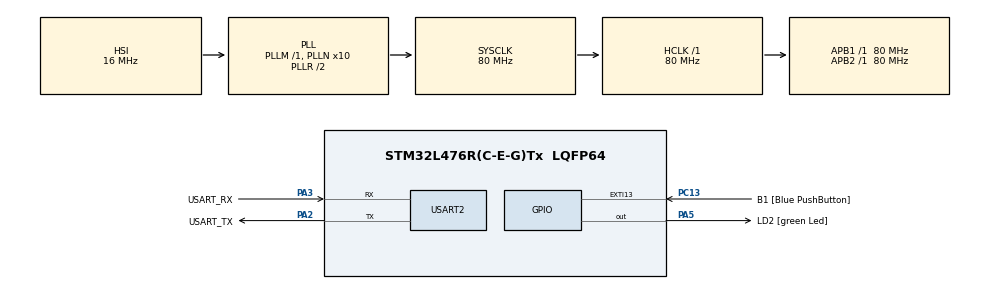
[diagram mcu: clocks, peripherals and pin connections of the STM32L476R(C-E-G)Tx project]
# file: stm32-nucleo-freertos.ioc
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FREERTOS.Tasks01=defaultTask,0,128,StartDefaultTask,Default,NULL,Dynamic,NULL,NULL
Mcu.Family=STM32L4
Mcu.Name=STM32L476R(C-E-G)Tx
Mcu.Package=LQFP64
NVIC.PriorityGroup=NVIC_PRIORITYGROUP_4
NVIC.TIM2_IRQn=true\:0\:0\:false\:false\:true\:false\:false\:true
NVIC.TimeBase=TIM2_IRQn
NVIC.TimeBaseIP=TIM2
PA13\ (JTMS-SWDIO).GPIO_Label=TMS
PA13\ (JTMS-SWDIO).Mode=Serial_Wire
PA13\ (JTMS-SWDIO).Signal=SYS_JTMS-SWDIO
PA14\ (JTCK-SWCLK).GPIO_Label=TCK
PA14\ (JTCK-SWCLK).Mode=Serial_Wire
PA14\ (JTCK-SWCLK).Signal=SYS_JTCK-SWCLK
PA2.GPIO_Label=USART_TX
PA2.GPIO_Mode=GPIO_MODE_AF_PP
PA2.GPIO_PuPd=GPIO_NOPULL
PA2.GPIO_Speed=GPIO_SPEED_FREQ_VERY_HIGH
PA2.Mode=Asynchronous
PA2.Signal=USART2_TX
PA3.GPIO_Label=USART_RX
PA3.GPIO_Mode=GPIO_MODE_AF_PP
PA3.GPIO_PuPd=GPIO_NOPULL
PA3.GPIO_Speed=GPIO_SPEED_FREQ_VERY_HIGH
PA3.Mode=Asynchronous
PA3.Signal=USART2_RX
PA5.GPIO_Label=LD2 [green Led]
PA5.GPIO_ModeDefaultOutputPP=GPIO_MODE_OUTPUT_PP
PA5.GPIO_PuPd=GPIO_NOPULL
PA5.GPIO_Speed=GPIO_SPEED_FREQ_LOW
PA5.Signal=GPIO_Output
PB3\ (JTDO-TRACESWO).GPIO_Label=SWO
PB3\ (JTDO-TRACESWO).Signal=SYS_JTDO-SWO
PC13.GPIO_Label=B1 [Blue PushButton]
PC13.GPIO_ModeDefaultEXTI=GPIO_MODE_IT_FALLING
PC13.GPIO_PuPd=GPIO_NOPULL
PC13.Signal=GPXTI13
PC14-OSC32_IN\ (PC14).Mode=LSE-External-Oscillator
PC14-OSC32_IN\ (PC14).Signal=RCC_OSC32_IN
PC15-OSC32_OUT\ (PC15).Mode=LSE-External-Oscillator
PC15-OSC32_OUT\ (PC15).Signal=RCC_OSC32_OUT
PH0-OSC_IN\ (PH0).Signal=RCC_OSC_IN
PH1-OSC_OUT\ (PH1).Signal=RCC_OSC_OUT
ProjectManager.HeapSize=0x200
ProjectManager.StackSize=0x400
ProjectManager.TargetToolchain=STM32CubeIDE
RCC.ADCFreq_Value=64000000
RCC.AHBFreq_Value=80000000
RCC.APB1Freq_Value=80000000
RCC.APB1TimFreq_Value=80000000
RCC.APB2Freq_Value=80000000
RCC.APB2TimFreq_Value=80000000
RCC.CortexFreq_Value=80000000
RCC.HCLKFreq_Value=80000000
RCC.HSE_VALUE=8000000
RCC.HSI_VALUE=16000000
RCC.MSI_VALUE=4000000
RCC.PLLN=10
RCC.PLLSourceVirtual=RCC_PLLSOURCE_HSI
RCC.PREFETCH_ENABLE=1
RCC.SYSCLKFreq_VALUE=80000000
RCC.SYSCLKSource=RCC_SYSCLKSOURCE_PLLCLK
RCC.USBFreq_Value=64000000
RCC.VCOOutputFreq_Value=160000000
USART2.VirtualMode-Asynchronous=VM_ASYNC
VP_FREERTOS_VS_CMSIS_V1.Mode=CMSIS_V1
VP_SYS_VS_tim2.Mode=TIM2
board=NUCLEO-L476RG

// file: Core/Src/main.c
/* USER CODE BEGIN Header */
/**
  ******************************************************************************
  * @file           : main.c
  * @brief          : Main program body
  ******************************************************************************
  * @attention
  *
  * <h2><center>&copy; Copyright (c) 2022 STMicroelectronics.
  * All rights reserved.</center></h2>
  *
  * This software component is licensed by ST under Ultimate Liberty license
  * SLA0044, the "License"; You may not use this file except in compliance with
  * the License. You may obtain a copy of the License at:
  *                             www.st.com/SLA0044
  *
  ******************************************************************************
  */
/* USER CODE END Header */
#include "string.h"
#include "stdbool.h"

#include "main.h"
#include "cmsis_os.h"

/* USER CODE BEGIN Includes */
#include "logger.h"
#include "led_control.h"
#include "FreeRTOS.h"
#include "queue.h"
/* USER CODE END Includes */

/* USER CODE BEGIN PM */
extern TaskHandle_t xLedTask;

char cmd_led_on[] = "on\r\n";
char cmd_led_off[] = "off\r\n";
char cmd_led_blink[] = "blink\r\n";

xQueueHandle xLedCmdQueue;
/* USER CODE END PM */

UART_HandleTypeDef huart2;

osThreadId defaultTaskHandle;
/* USER CODE BEGIN PV */
TimerHandle_t xSwTimerLed;
/* USER CODE END PV */

void SystemClock_Config(void);
static void MX_GPIO_Init(void);
static void MX_USART2_UART_Init(void);

/* USER CODE BEGIN 0 */

void vApplicationGetTimerTaskMemory( StaticTask_t **ppxTimerTaskTCBBuffer, StackType_t **ppxTimerTaskStackBuffer, uint32_t *pulTimerTaskStackSize )
{

}

/* USER CODE END 0 */

int main(void)
{

  /* MCU Configuration--------------------------------------------------------*/

  /* Reset of all peripherals, Initializes the Flash interface and the Systick. */
  HAL_Init();

  /* Configure the system clock */
  SystemClock_Config();

  /* Initialize all configured peripherals */
  MX_GPIO_Init();
  MX_USART2_UART_Init();
  /* USER CODE BEGIN 2 */

  logger_init();

  /* USER CODE END 2 */

  /* USER CODE BEGIN RTOS_TIMERS */
  /*xSwTimerLed = xTimerCreate ("SwTimerLed", pdMS_TO_TICKS(300), pdTRUE, 0, vCallbackSwTimerLed);
  if (xSwTimerLed != NULL)
  {
	  xTimerStart (xSwTimerLed, 100) ;
  }
  else
  {
	  // Timer doun't created.
  }*/

  /* USER CODE END RTOS_TIMERS */

	/*for (int i = 0; i < 10; ++i)
	{
		led_on();

		HAL_Delay(1000);

		led_off();

		HAL_Delay(100);

		led_on();

		HAL_Delay(1000);
	}*/

  /* USER CODE BEGIN RTOS_THREADS */
  xLedTask = xTaskCreate( my_led_task, "LED_TASK", 512, ( void * ) 0, 5, NULL );
  /* USER CODE END RTOS_THREADS */

  /* Start scheduler */
	vTaskStartScheduler();

  /* We should never get here as control is now taken by the scheduler */
  /* Infinite loop */
  while (1)
  {

  }
}

void SystemClock_Config(void)
{
  RCC_OscInitTypeDef RCC_OscInitStruct = {0};
  RCC_ClkInitTypeDef RCC_ClkInitStruct = {0};
  RCC_PeriphCLKInitTypeDef PeriphClkInit = {0};

  /** Initializes the RCC Oscillators according to the specified parameters
  * in the RCC_OscInitTypeDef structure.
  */
  RCC_OscInitStruct.OscillatorType = RCC_OSCILLATORTYPE_HSI;
  RCC_OscInitStruct.HSIState = RCC_HSI_ON;
  RCC_OscInitStruct.HSICalibrationValue = RCC_HSICALIBRATION_DEFAULT;
  RCC_OscInitStruct.PLL.PLLState = RCC_PLL_ON;
  RCC_OscInitStruct.PLL.PLLSource = RCC_PLLSOURCE_HSI;
  RCC_OscInitStruct.PLL.PLLM = 1;
  RCC_OscInitStruct.PLL.PLLN = 10;
  RCC_OscInitStruct.PLL.PLLP = RCC_PLLP_DIV7;
  RCC_OscInitStruct.PLL.PLLQ = RCC_PLLQ_DIV2;
  RCC_OscInitStruct.PLL.PLLR = RCC_PLLR_DIV2;
  if (HAL_RCC_OscConfig(&RCC_OscInitStruct) != HAL_OK)
  {
    Error_Handler();
  }
  /** Initializes the CPU, AHB and APB buses clocks
  */
  RCC_ClkInitStruct.ClockType = RCC_CLOCKTYPE_HCLK|RCC_CLOCKTYPE_SYSCLK
                              |RCC_CLOCKTYPE_PCLK1|RCC_CLOCKTYPE_PCLK2;
  RCC_ClkInitStruct.SYSCLKSource = RCC_SYSCLKSOURCE_PLLCLK;
  RCC_ClkInitStruct.AHBCLKDivider = RCC_SYSCLK_DIV1;
  RCC_ClkInitStruct.APB1CLKDivider = RCC_HCLK_DIV1;
  RCC_ClkInitStruct.APB2CLKDivider = RCC_HCLK_DIV1;

  if (HAL_RCC_ClockConfig(&RCC_ClkInitStruct, FLASH_LATENCY_4) != HAL_OK)
  {
    Error_Handler();
  }
  PeriphClkInit.PeriphClockSelection = RCC_PERIPHCLK_USART2;
  PeriphClkInit.Usart2ClockSelection = RCC_USART2CLKSOURCE_PCLK1;
  if (HAL_RCCEx_PeriphCLKConfig(&PeriphClkInit) != HAL_OK)
  {
    Error_Handler();
  }
  /** Configure the main internal regulator output voltage
  */
  if (HAL_PWREx_ControlVoltageScaling(PWR_REGULATOR_VOLTAGE_SCALE1) != HAL_OK)
  {
    Error_Handler();
  }
}

static void MX_USART2_UART_Init(void)
{

  huart2.Instance = USART2;
  huart2.Init.BaudRate = 115200;
  huart2.Init.WordLength = UART_WORDLENGTH_8B;
  huart2.Init.StopBits = UART_STOPBITS_1;
  huart2.Init.Parity = UART_PARITY_NONE;
  huart2.Init.Mode = UART_MODE_TX_RX;
  huart2.Init.HwFlowCtl = UART_HWCONTROL_NONE;
  huart2.Init.OverSampling = UART_OVERSAMPLING_16;
  huart2.Init.OneBitSampling = UART_ONE_BIT_SAMPLE_DISABLE;
  huart2.AdvancedInit.AdvFeatureInit = UART_ADVFEATURE_NO_INIT;
  if (HAL_UART_Init(&huart2) != HAL_OK)
  {
    Error_Handler();
  }

}

static void MX_GPIO_Init(void)
{
  GPIO_InitTypeDef GPIO_InitStruct = {0};

  /* GPIO Ports Clock Enable */
  __HAL_RCC_GPIOC_CLK_ENABLE();
  __HAL_RCC_GPIOH_CLK_ENABLE();
  __HAL_RCC_GPIOA_CLK_ENABLE();
  __HAL_RCC_GPIOB_CLK_ENABLE();

  /*Configure GPIO pin Output Level */
  HAL_GPIO_WritePin(LD2_GPIO_Port, LD2_Pin, GPIO_PIN_RESET);

  /*Configure GPIO pin : B1_Pin */
  GPIO_InitStruct.Pin = B1_Pin;
  GPIO_InitStruct.Mode = GPIO_MODE_IT_FALLING;
  GPIO_InitStruct.Pull = GPIO_NOPULL;
  HAL_GPIO_Init(B1_GPIO_Port, &GPIO_InitStruct);

  /*Configure GPIO pin : LD2_Pin */
  GPIO_InitStruct.Pin = LD2_Pin;
  GPIO_InitStruct.Mode = GPIO_MODE_OUTPUT_PP;
  GPIO_InitStruct.Pull = GPIO_NOPULL;
  GPIO_InitStruct.Speed = GPIO_SPEED_FREQ_LOW;
  HAL_GPIO_Init(LD2_GPIO_Port, &GPIO_InitStruct);

}

/* USER CODE BEGIN 4 */

void uart2_rx_byte_handler(const char b)
{
	static char buff[16] = {'\0'};
	static uint8_t i = 0;

	buff[i] = b;

	i++;
	if (i > sizeof(buff))
	{
		memset (buff, '\0', sizeof(buff));
		i = 0;
	}

	if ((buff[i -1] == '\n') && (buff[i -2] == '\r'))
	{
		if (memcmp(cmd_led_on, &buff, sizeof(cmd_led_on)) == 0)
		{
			Led.state = LED_ON;
			xQueueSendToBackFromISR(xLedCmdQueue, &Led.state, 2);
		}
		else if (memcmp(cmd_led_off, &buff, sizeof(cmd_led_off)) == 0)
		{
			Led.state = LED_OFF;
			xQueueSendToBackFromISR(xLedCmdQueue, &Led.state, 2);
		}
		else if (memcmp(cmd_led_blink, &buff, sizeof(cmd_led_blink)) == 0)
		{
			Led.state = LED_BLINK;
			xQueueSendToBackFromISR(xLedCmdQueue, &Led.state, 2);
		}

		memset (buff, '\0', sizeof(buff));
		i = 0;
	}
}

/* USER CODE END 4 */

 /**
  * @brief  Period elapsed callback in non blocking mode
  * @note   This function is called  when TIM2 interrupt took place, inside
  * HAL_TIM_IRQHandler(). It makes a direct call to HAL_IncTick() to increment
  * a global variable "uwTick" used as application time base.
  * @param  htim : TIM handle
  * @retval None
  */
void HAL_TIM_PeriodElapsedCallback(TIM_HandleTypeDef *htim)
{
  if (htim->Instance == TIM2) {
    HAL_IncTick();
  }
}

void Error_Handler(void)
{
  __disable_irq();
  while (1)
  {
  }
}

/************************ (C) COPYRIGHT STMicroelectronics *****END OF FILE****/
